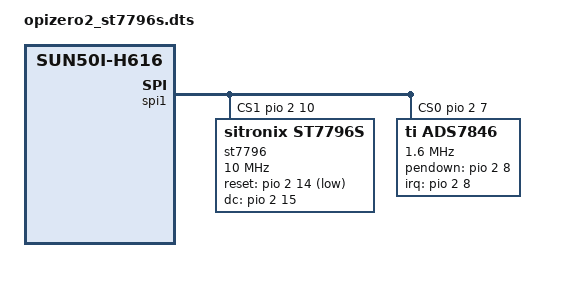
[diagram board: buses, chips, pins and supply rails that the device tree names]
/*
MOSI      PH7
MISO      PH8
CLK       PH6
TFT_CS    PC10
DC        PC15
RST       PC14
TOUCH_CS  PC7
TOUCH_IRQ PC8
*/

/dts-v1/;
/plugin/;

/ {
    compatible = "allwinner,sun50i-h616";

    fragment@0 {
        target = <&spi1>;
        __overlay__ {
            num-cs = <2>;
            cs-gpios = <&pio 2 7 0>, <&pio 2 10 0>;
            status = "okay";
            #address-cells = <1>;
            #size-cells = <0>;
            
            st7796: st7796s@0{
                compatible = "sitronix,st7796s";
                reg = <1>;
                spi-max-frequency = <10000000>;
                rotation = <180>;
                fps = <30>;
                buswidth = <16>;
                reset-gpios = <&pio 2 14 1>; /* PC14 */
                dc-gpios = <&pio 2 15 0>;  /* PC15 */
                debug = <0>;
            };

            ads7846: ads7846@0 {
                compatible = "ti,ads7846";
                reg = <0>;
                status = "okay";
                spi-max-frequency = <1600000>;
                interrupts = <2 8 2>;
                interrupt-parent = <&pio>;
                pendown-gpio = <&pio 2 8 0>;
                ti,x-min = /bits/ 16 <0>;
                ti,y-min = /bits/ 16 <0>;
                ti,x-max = /bits/ 16 <0x0FFF>;
                ti,y-max = /bits/ 16 <0x0FFF>;
                ti,pressure-min = /bits/ 16 <0>;
                ti,pressure-max = /bits/ 16 <0xFFFF>;
                ti,x-plate-ohms = /bits/ 16 <400>;
                };
            };
      };
};
